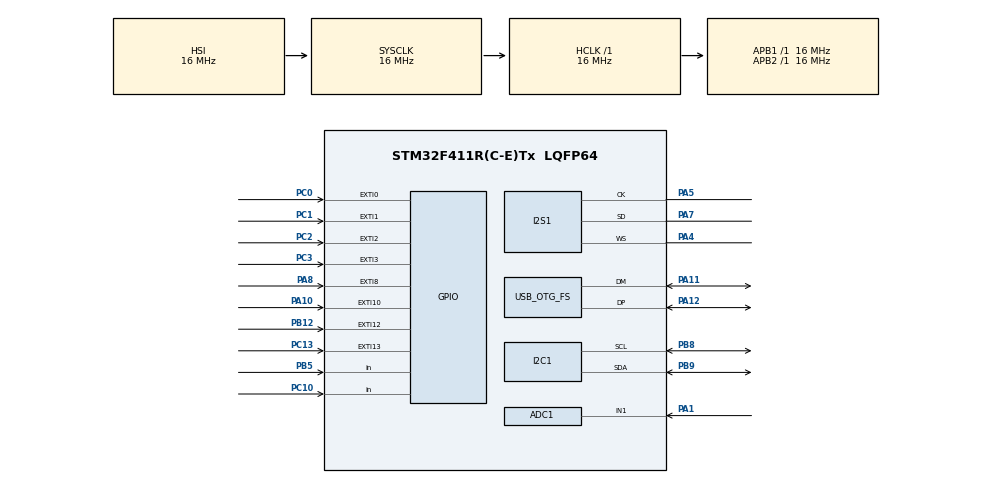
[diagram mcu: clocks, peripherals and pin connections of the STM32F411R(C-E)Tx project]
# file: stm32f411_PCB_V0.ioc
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ADC1.Channel-0\#ChannelRegularConversion=ADC_CHANNEL_1
ADC1.NbrOfConversionFlag=1
ADC1.Rank-0\#ChannelRegularConversion=1
ADC1.SamplingTime-0\#ChannelRegularConversion=ADC_SAMPLETIME_3CYCLES
ADC1.master=1
Dma.Request0=SPI1_TX
Dma.SPI1_TX.0.Direction=DMA_MEMORY_TO_PERIPH
Dma.SPI1_TX.0.FIFOMode=DMA_FIFOMODE_DISABLE
Dma.SPI1_TX.0.Instance=DMA2_Stream2
Dma.SPI1_TX.0.MemDataAlignment=DMA_MDATAALIGN_HALFWORD
Dma.SPI1_TX.0.MemInc=DMA_MINC_ENABLE
Dma.SPI1_TX.0.Mode=DMA_CIRCULAR
Dma.SPI1_TX.0.PeriphDataAlignment=DMA_PDATAALIGN_HALFWORD
Dma.SPI1_TX.0.PeriphInc=DMA_PINC_DISABLE
Dma.SPI1_TX.0.Priority=DMA_PRIORITY_LOW
I2S1.AudioFreq=I2S_AUDIOFREQ_44K
I2S1.ErrorAudioFreq=0.26 %
I2S1.FullDuplexMode=I2S_FULLDUPLEXMODE_DISABLE
I2S1.Instance=SPI$Index
I2S1.RealAudioFreq=44.117 KHz
I2S1.VirtualMode=I2S_MODE_MASTER
Mcu.Family=STM32F4
Mcu.Name=STM32F411R(C-E)Tx
Mcu.Package=LQFP64
NVIC.DMA2_Stream2_IRQn=true\:0\:0\:false\:false\:true\:false\:true\:true
NVIC.PriorityGroup=NVIC_PRIORITYGROUP_4
PA1.Signal=SharedAnalog_PA1
PA10.GPIO_ModeDefaultEXTI=GPIO_MODE_IT_FALLING
PA10.Signal=GPXTI10
PA11.Mode=Device_Only
PA11.Signal=USB_OTG_FS_DM
PA12.Mode=Device_Only
PA12.Signal=USB_OTG_FS_DP
PA13.Signal=SYS_JTMS-SWDIO
PA14.Signal=SYS_JTCK-SWCLK
PA2.Signal=USART2_TX
PA3.Signal=USART2_RX
PA4.Mode=Half_Duplex_Master
PA4.Signal=I2S1_WS
PA5.Mode=Half_Duplex_Master
PA5.Signal=I2S1_CK
PA7.Mode=Half_Duplex_Master
PA7.Signal=I2S1_SD
PA8.GPIO_ModeDefaultEXTI=GPIO_MODE_IT_FALLING
PA8.Signal=GPXTI8
PB12.GPIO_ModeDefaultEXTI=GPIO_MODE_IT_FALLING
PB12.Signal=GPXTI12
PB3.Signal=SYS_JTDO-SWO
PB5.Signal=GPIO_Input
PB8.Mode=I2C
PB8.Signal=I2C1_SCL
PB9.Mode=I2C
PB9.Signal=I2C1_SDA
PC0.GPIO_ModeDefaultEXTI=GPIO_MODE_IT_FALLING
PC0.Signal=GPXTI0
PC1.GPIO_ModeDefaultEXTI=GPIO_MODE_IT_FALLING
PC1.Signal=GPXTI1
PC10.Signal=GPIO_Input
PC13-ANTI_TAMP.GPIO_ModeDefaultEXTI=GPIO_MODE_IT_FALLING
PC13-ANTI_TAMP.Signal=GPXTI13
PC14-OSC32_IN.Mode=LSE-External-Oscillator
PC14-OSC32_IN.Signal=RCC_OSC32_IN
PC15-OSC32_OUT.Mode=LSE-External-Oscillator
PC15-OSC32_OUT.Signal=RCC_OSC32_OUT
PC2.GPIO_ModeDefaultEXTI=GPIO_MODE_IT_FALLING
PC2.Signal=GPXTI2
PC3.GPIO_ModeDefaultEXTI=GPIO_MODE_IT_FALLING
PC3.Signal=GPXTI3
PH0\ -\ OSC_IN.Mode=HSE-External-Oscillator
PH0\ -\ OSC_IN.Signal=RCC_OSC_IN
PH1\ -\ OSC_OUT.Mode=HSE-External-Oscillator
PH1\ -\ OSC_OUT.Signal=RCC_OSC_OUT
ProjectManager.HeapSize=0x200
ProjectManager.StackSize=0x400
ProjectManager.TargetToolchain=EWARM V8.50
RCC.48MHZClocksFreq_Value=48000000
RCC.AHBFreq_Value=16000000
RCC.APB1Freq_Value=16000000
RCC.APB2Freq_Value=16000000
RCC.CortexFreq_Value=16000000
RCC.HSE_VALUE=8000000
RCC.HSI_VALUE=16000000
RCC.PLLI2SM=4
RCC.PLLM=4
RCC.PLLN=72
RCC.PLLQ=3
RCC.SYSCLKFreq_VALUE=16000000
RCC.VCOOutputFreq_Value=144000000
SH.SharedAnalog_PA1.0=GPIO_Analog
SH.SharedAnalog_PA1.1=ADC1_IN1,IN1
USB_OTG_FS.VirtualMode=Device_Only
board=custom

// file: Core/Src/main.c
/* USER CODE BEGIN Header */
/**
  ******************************************************************************
  * @file           : main.c
  * @brief          : Main program body
  ******************************************************************************
  * @attention
  *
  * Copyright (c) 2026 STMicroelectronics.
  * All rights reserved.
  *
  * This software is licensed under terms that can be found in the LICENSE file
  * in the root directory of this software component.
  * If no LICENSE file comes with this software, it is provided AS-IS.
  *
  ******************************************************************************
  */
/* USER CODE END Header */
#include "main.h"

ADC_HandleTypeDef hadc1;

I2C_HandleTypeDef hi2c1;

I2S_HandleTypeDef hi2s1;
DMA_HandleTypeDef hdma_spi1_tx;

PCD_HandleTypeDef hpcd_USB_OTG_FS;

void SystemClock_Config(void);
static void MX_GPIO_Init(void);
static void MX_DMA_Init(void);
static void MX_I2S1_Init(void);
static void MX_I2C1_Init(void);
static void MX_USB_OTG_FS_PCD_Init(void);
static void MX_ADC1_Init(void);

/* USER CODE BEGIN 0 */
/* -------------------------------------------------------------------------- */
/* Hardware / UI logic: periodic scan (from previous optimized version)         */
/* -------------------------------------------------------------------------- */
uint8_t mcpValueA20 = 0;
uint8_t mcpValueB20 = 0;
uint8_t mcpValueA21 = 0;
uint8_t mcpValueB21 = 0;
uint8_t mcpValueA22 = 0;
uint8_t mcpValueB22 = 0;
uint8_t mcpValueA23 = 0;
uint8_t mcpValueB23 = 0;

MCP23017_HandleTypeDef hmcp20;
MCP23017_HandleTypeDef hmcp21;
MCP23017_HandleTypeDef hmcp22;
MCP23017_HandleTypeDef hmcp23;

int toBinary(uint8_t a, uint8_t port) {
    uint8_t i;
    int compteur = 0;
    for (i = 0x80; i != 0; i >>= 1) {
        if ((a & i)) {
            if (port == 0) {
                return 7 - (7 - compteur);
            }
            else {
                return (7 - compteur);
            }
        }
        else {
            compteur = compteur + 1;
        }
    }
    return -1;
}

static void UI_ScanAndDispatch(uint32_t nowMs)
{
    mcpValueA20 = mcp23017_read_gpio_int(&hmcp20, MCP23017_PORTA);
    mcpValueB20 = mcp23017_read_gpio_int(&hmcp20, MCP23017_PORTB);
    mcpValueA21 = mcp23017_read_gpio_int(&hmcp21, MCP23017_PORTA);
    mcpValueB21 = mcp23017_read_gpio_int(&hmcp21, MCP23017_PORTB);
    mcpValueA22 = mcp23017_read_gpio_int(&hmcp22, MCP23017_PORTA);
    mcpValueB22 = mcp23017_read_gpio_int(&hmcp22, MCP23017_PORTB);
    mcpValueA23 = mcp23017_read_gpio_int(&hmcp23, MCP23017_PORTA);
    mcpValueB23 = mcp23017_read_gpio_int(&hmcp23, MCP23017_PORTB);

    int8_t raw_idxA20 = (int8_t)toBinary(mcpValueA20, 0);
    int8_t raw_idxA21 = (int8_t)toBinary(mcpValueA21, 0);
    int8_t raw_idxA22 = (int8_t)toBinary(mcpValueA22, 0);
    int8_t raw_idxA23 = (int8_t)toBinary(mcpValueA23, 0);

    int8_t raw_idxB20 = (int8_t)toBinary(mcpValueB20, 1);
    int8_t raw_idxB21 = (int8_t)toBinary(mcpValueB21, 1);
    int8_t raw_idxB22 = (int8_t)toBinary(mcpValueB22, 1);
    int8_t raw_idxB23 = (int8_t)toBinary(mcpValueB23, 1);
}

/* USER CODE END 0 */

int main(void)
{

  /* MCU Configuration--------------------------------------------------------*/

  /* Reset of all peripherals, Initializes the Flash interface and the Systick. */
  HAL_Init();

  /* Configure the system clock */
  SystemClock_Config();

  /* Initialize all configured peripherals */
  MX_GPIO_Init();
  MX_DMA_Init();
  MX_I2S1_Init();
  MX_I2C1_Init();
  MX_USB_OTG_FS_PCD_Init();
  MX_ADC1_Init();
  /* USER CODE BEGIN 2 */
    mcp23017_init(&hmcp20, &hi2c1, MCP23017_ADDRESS_20);
    mcp23017_iodir(&hmcp20, MCP23017_PORTA, MCP23017_IODIR_ALL_INPUT);
    mcp23017_iodir(&hmcp20, MCP23017_PORTB, MCP23017_IODIR_ALL_INPUT);

    mcp23017_init(&hmcp21, &hi2c1, MCP23017_ADDRESS_27);
    mcp23017_iodir(&hmcp21, MCP23017_PORTA, MCP23017_IODIR_ALL_INPUT);
    mcp23017_iodir(&hmcp21, MCP23017_PORTB, MCP23017_IODIR_ALL_INPUT);

    mcp23017_init(&hmcp22, &hi2c1, MCP23017_ADDRESS_22);
    mcp23017_iodir(&hmcp22, MCP23017_PORTA, MCP23017_IODIR_ALL_INPUT);
    mcp23017_iodir(&hmcp22, MCP23017_PORTB, MCP23017_IODIR_ALL_INPUT);

    mcp23017_init(&hmcp23, &hi2c1, MCP23017_ADDRESS_23);
    mcp23017_iodir(&hmcp23, MCP23017_PORTA, MCP23017_IODIR_ALL_INPUT);
    mcp23017_iodir(&hmcp23, MCP23017_PORTB, MCP23017_IODIR_ALL_INPUT);
  /* USER CODE END 2 */

  /* Infinite loop */
  while (1)
  {

  }
}

void SystemClock_Config(void)
{
  RCC_OscInitTypeDef RCC_OscInitStruct = {0};
  RCC_ClkInitTypeDef RCC_ClkInitStruct = {0};

  /** Configure the main internal regulator output voltage
  */
  __HAL_RCC_PWR_CLK_ENABLE();
  __HAL_PWR_VOLTAGESCALING_CONFIG(PWR_REGULATOR_VOLTAGE_SCALE1);

  /** Initializes the RCC Oscillators according to the specified parameters
  * in the RCC_OscInitTypeDef structure.
  */
  RCC_OscInitStruct.OscillatorType = RCC_OSCILLATORTYPE_HSI|RCC_OSCILLATORTYPE_HSE;
  RCC_OscInitStruct.HSEState = RCC_HSE_ON;
  RCC_OscInitStruct.HSIState = RCC_HSI_ON;
  RCC_OscInitStruct.HSICalibrationValue = RCC_HSICALIBRATION_DEFAULT;
  RCC_OscInitStruct.PLL.PLLState = RCC_PLL_ON;
  RCC_OscInitStruct.PLL.PLLSource = RCC_PLLSOURCE_HSE;
  RCC_OscInitStruct.PLL.PLLM = 4;
  RCC_OscInitStruct.PLL.PLLN = 72;
  RCC_OscInitStruct.PLL.PLLP = RCC_PLLP_DIV2;
  RCC_OscInitStruct.PLL.PLLQ = 3;
  if (HAL_RCC_OscConfig(&RCC_OscInitStruct) != HAL_OK)
  {
    Error_Handler();
  }

  /** Initializes the CPU, AHB and APB buses clocks
  */
  RCC_ClkInitStruct.ClockType = RCC_CLOCKTYPE_HCLK|RCC_CLOCKTYPE_SYSCLK
                              |RCC_CLOCKTYPE_PCLK1|RCC_CLOCKTYPE_PCLK2;
  RCC_ClkInitStruct.SYSCLKSource = RCC_SYSCLKSOURCE_HSI;
  RCC_ClkInitStruct.AHBCLKDivider = RCC_SYSCLK_DIV1;
  RCC_ClkInitStruct.APB1CLKDivider = RCC_HCLK_DIV1;
  RCC_ClkInitStruct.APB2CLKDivider = RCC_HCLK_DIV1;

  if (HAL_RCC_ClockConfig(&RCC_ClkInitStruct, FLASH_LATENCY_0) != HAL_OK)
  {
    Error_Handler();
  }
}

static void MX_ADC1_Init(void)
{

  ADC_ChannelConfTypeDef sConfig = {0};

  /** Configure the global features of the ADC (Clock, Resolution, Data Alignment and number of conversion)
  */
  hadc1.Instance = ADC1;
  hadc1.Init.ClockPrescaler = ADC_CLOCK_SYNC_PCLK_DIV2;
  hadc1.Init.Resolution = ADC_RESOLUTION_12B;
  hadc1.Init.ScanConvMode = DISABLE;
  hadc1.Init.ContinuousConvMode = DISABLE;
  hadc1.Init.DiscontinuousConvMode = DISABLE;
  hadc1.Init.ExternalTrigConvEdge = ADC_EXTERNALTRIGCONVEDGE_NONE;
  hadc1.Init.ExternalTrigConv = ADC_SOFTWARE_START;
  hadc1.Init.DataAlign = ADC_DATAALIGN_RIGHT;
  hadc1.Init.NbrOfConversion = 1;
  hadc1.Init.DMAContinuousRequests = DISABLE;
  hadc1.Init.EOCSelection = ADC_EOC_SINGLE_CONV;
  if (HAL_ADC_Init(&hadc1) != HAL_OK)
  {
    Error_Handler();
  }

  /** Configure for the selected ADC regular channel its corresponding rank in the sequencer and its sample time.
  */
  sConfig.Channel = ADC_CHANNEL_1;
  sConfig.Rank = 1;
  sConfig.SamplingTime = ADC_SAMPLETIME_3CYCLES;
  if (HAL_ADC_ConfigChannel(&hadc1, &sConfig) != HAL_OK)
  {
    Error_Handler();
  }

}

static void MX_I2C1_Init(void)
{

  hi2c1.Instance = I2C1;
  hi2c1.Init.ClockSpeed = 100000;
  hi2c1.Init.DutyCycle = I2C_DUTYCYCLE_2;
  hi2c1.Init.OwnAddress1 = 0;
  hi2c1.Init.AddressingMode = I2C_ADDRESSINGMODE_7BIT;
  hi2c1.Init.DualAddressMode = I2C_DUALADDRESS_DISABLE;
  hi2c1.Init.OwnAddress2 = 0;
  hi2c1.Init.GeneralCallMode = I2C_GENERALCALL_DISABLE;
  hi2c1.Init.NoStretchMode = I2C_NOSTRETCH_DISABLE;
  if (HAL_I2C_Init(&hi2c1) != HAL_OK)
  {
    Error_Handler();
  }

}

static void MX_I2S1_Init(void)
{

  hi2s1.Instance = SPI1;
  hi2s1.Init.Mode = I2S_MODE_MASTER_TX;
  hi2s1.Init.Standard = I2S_STANDARD_PHILIPS;
  hi2s1.Init.DataFormat = I2S_DATAFORMAT_16B;
  hi2s1.Init.MCLKOutput = I2S_MCLKOUTPUT_DISABLE;
  hi2s1.Init.AudioFreq = I2S_AUDIOFREQ_44K;
  hi2s1.Init.CPOL = I2S_CPOL_LOW;
  hi2s1.Init.ClockSource = I2S_CLOCK_PLL;
  hi2s1.Init.FullDuplexMode = I2S_FULLDUPLEXMODE_DISABLE;
  if (HAL_I2S_Init(&hi2s1) != HAL_OK)
  {
    Error_Handler();
  }

}

static void MX_USB_OTG_FS_PCD_Init(void)
{

  hpcd_USB_OTG_FS.Instance = USB_OTG_FS;
  hpcd_USB_OTG_FS.Init.dev_endpoints = 4;
  hpcd_USB_OTG_FS.Init.speed = PCD_SPEED_FULL;
  hpcd_USB_OTG_FS.Init.dma_enable = DISABLE;
  hpcd_USB_OTG_FS.Init.phy_itface = PCD_PHY_EMBEDDED;
  hpcd_USB_OTG_FS.Init.Sof_enable = DISABLE;
  hpcd_USB_OTG_FS.Init.low_power_enable = DISABLE;
  hpcd_USB_OTG_FS.Init.lpm_enable = DISABLE;
  hpcd_USB_OTG_FS.Init.vbus_sensing_enable = DISABLE;
  hpcd_USB_OTG_FS.Init.use_dedicated_ep1 = DISABLE;
  if (HAL_PCD_Init(&hpcd_USB_OTG_FS) != HAL_OK)
  {
    Error_Handler();
  }

}

static void MX_DMA_Init(void)
{

  /* DMA controller clock enable */
  __HAL_RCC_DMA2_CLK_ENABLE();

  /* DMA interrupt init */
  /* DMA2_Stream2_IRQn interrupt configuration */
  HAL_NVIC_SetPriority(DMA2_Stream2_IRQn, 0, 0);
  HAL_NVIC_EnableIRQ(DMA2_Stream2_IRQn);

}

static void MX_GPIO_Init(void)
{
  GPIO_InitTypeDef GPIO_InitStruct = {0};

  /* GPIO Ports Clock Enable */
  __HAL_RCC_GPIOC_CLK_ENABLE();
  __HAL_RCC_GPIOH_CLK_ENABLE();
  __HAL_RCC_GPIOA_CLK_ENABLE();
  __HAL_RCC_GPIOB_CLK_ENABLE();

  /*Configure GPIO pins : PC13 PC0 PC1 PC2
                           PC3 */
  GPIO_InitStruct.Pin = GPIO_PIN_13|GPIO_PIN_0|GPIO_PIN_1|GPIO_PIN_2
                          |GPIO_PIN_3;
  GPIO_InitStruct.Mode = GPIO_MODE_IT_FALLING;
  GPIO_InitStruct.Pull = GPIO_NOPULL;
  HAL_GPIO_Init(GPIOC, &GPIO_InitStruct);

  /*Configure GPIO pins : PA2 PA3 */
  GPIO_InitStruct.Pin = GPIO_PIN_2|GPIO_PIN_3;
  GPIO_InitStruct.Mode = GPIO_MODE_AF_PP;
  GPIO_InitStruct.Pull = GPIO_NOPULL;
  GPIO_InitStruct.Speed = GPIO_SPEED_FREQ_VERY_HIGH;
  GPIO_InitStruct.Alternate = GPIO_AF7_USART2;
  HAL_GPIO_Init(GPIOA, &GPIO_InitStruct);

  /*Configure GPIO pin : PB12 */
  GPIO_InitStruct.Pin = GPIO_PIN_12;
  GPIO_InitStruct.Mode = GPIO_MODE_IT_FALLING;
  GPIO_InitStruct.Pull = GPIO_NOPULL;
  HAL_GPIO_Init(GPIOB, &GPIO_InitStruct);

  /*Configure GPIO pins : PA8 PA10 */
  GPIO_InitStruct.Pin = GPIO_PIN_8|GPIO_PIN_10;
  GPIO_InitStruct.Mode = GPIO_MODE_IT_FALLING;
  GPIO_InitStruct.Pull = GPIO_NOPULL;
  HAL_GPIO_Init(GPIOA, &GPIO_InitStruct);

  /*Configure GPIO pin : PC10 */
  GPIO_InitStruct.Pin = GPIO_PIN_10;
  GPIO_InitStruct.Mode = GPIO_MODE_INPUT;
  GPIO_InitStruct.Pull = GPIO_NOPULL;
  HAL_GPIO_Init(GPIOC, &GPIO_InitStruct);

  /*Configure GPIO pin : PB5 */
  GPIO_InitStruct.Pin = GPIO_PIN_5;
  GPIO_InitStruct.Mode = GPIO_MODE_INPUT;
  GPIO_InitStruct.Pull = GPIO_NOPULL;
  HAL_GPIO_Init(GPIOB, &GPIO_InitStruct);

}

void Error_Handler(void)
{
    __disable_irq();
    while (1)
    {
    }
}
